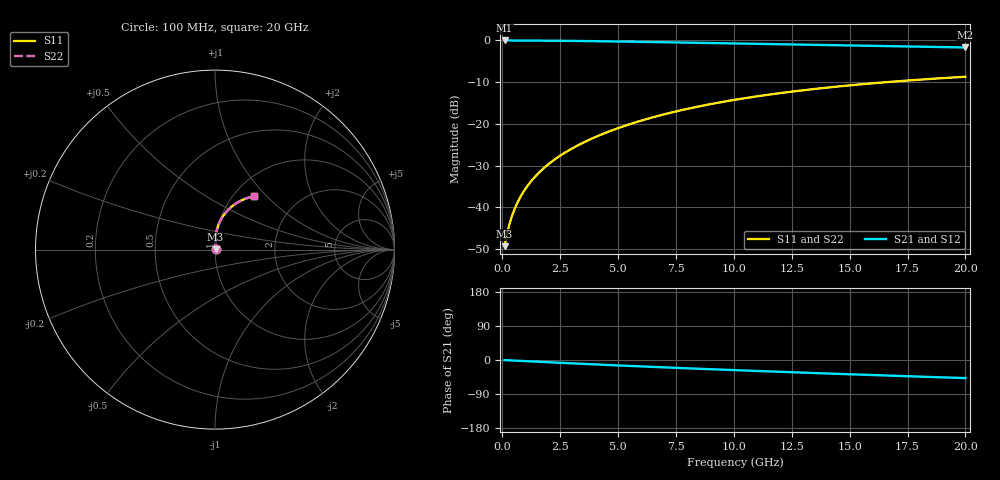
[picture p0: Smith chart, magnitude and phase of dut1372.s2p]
! Touchstone file exported from HFSS 2024.1.0
!  File:  C:/UserFiles/LocalFiles/RDL_TSV_Batchsim/temp_RDL_bottom_1372_1780371232.aedt
!  Generated:  11:36:20 AM Jun  2, 2026
!  Design:  RDL_bottom
!  Project:  temp_RDL_bottom_1372_1780371232
!  Setup:  Setup1
!  Solution:  Sweep
! Variables:
!  dtsv = 10.80580581um
!  hbump = 3um
!  htsv = 86.76um
!  ldown = 697.44um
!  lrdl = 100um
!  p = 40
!  p1 = 54.4um
!  rhole = 1um
!  t = 450um
!  tdown = 3.45um
!  trdl = 3.915915916um
!  wdown = 27.32um
!  wrdl = 20um
# GHz S MA R 50.000000
! Terminal data exported
! Port[1] = RDL1_T1
! Port[2] = RDL1_T2
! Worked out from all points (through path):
!   200 points, 100 MHz to 20 GHz, reference 50 ohm
!   highest |S21| = -0.03 dB at 100 MHz (marker M1); lowest = -1.7 dB at 20 GHz (marker M2)
!   group delay of S21, straight-line fit = 6.55 ps
!   lowest |S11| = -49.3 dB at 100 MHz (marker M3), VSWR 1.01, Z = 50.3 + j0.189 ohm
!   |S11| at or under -10 dB: start of sweep to 16.61 GHz
!   |S22| runs from -49.3 to -8.7 dB; largest |S21 - S12| = 1.4e-14
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0.1  0.003433 33.2  0.9971 -0.3  0.9971 -0.3  0.003433 33.2
! Gamma 0 0 0 0
! Port Impedance 50 0 50 0
0.2  0.00475 49.9  0.9969 -0.6  0.9969 -0.6  0.00475 49.9
0.3  0.006184 58.5  0.9966 -0.9  0.9966 -0.9  0.006184 58.4
0.4  0.007632 63.9  0.9964 -1.2  0.9964 -1.2  0.007632 63.9
0.5  0.009095 67.8  0.9962 -1.5  0.9962 -1.5  0.009095 67.8
0.6  0.01058 70.8  0.996 -1.8  0.996 -1.8  0.01058 70.8
0.8  0.01361 75.0  0.9955 -2.4  0.9955 -2.4  0.01361 75.0
1.1  0.01828 79.0  0.9947 -3.3  0.9947 -3.3  0.01828 79.0
1.3  0.02147 80.8  0.9941 -3.9  0.9941 -3.9  0.02147 80.8
1.6  0.02634 82.7  0.9929 -4.8  0.9929 -4.8  0.02634 82.6
2.1  0.03471 84.6  0.9906 -6.2  0.9906 -6.2  0.03471 84.6
2.7  0.04513 85.9  0.9871 -8.0  0.9871 -8.0  0.04513 85.9
3.5  0.0597 86.6  0.9815 -10.2  0.9815 -10.2  0.0597 86.6
4.2  0.07305 86.5  0.9758 -12.2  0.9758 -12.2  0.07305 86.5
5  0.08889 85.9  0.9687 -14.3  0.9687 -14.3  0.08889 85.9
6.8  0.1261 83.2  0.9514 -19.0  0.9514 -19.0  0.1261 83.2
8.4  0.1599 80.0  0.9352 -22.9  0.9352 -22.9  0.1599 80.0
10.1  0.1954 76.1  0.9179 -26.9  0.9179 -26.9  0.1954 76.1
11.7  0.2277 72.3  0.9017 -30.5  0.9017 -30.5  0.2276 72.3
13.4  0.2603 68.3  0.8847 -34.3  0.8847 -34.3  0.2603 68.3
16.7  0.3177 60.9  0.8526 -41.2  0.8526 -41.2  0.3177 60.9
20  0.3668 53.9  0.8219 -47.7  0.8219 -47.7  0.3668 53.9
